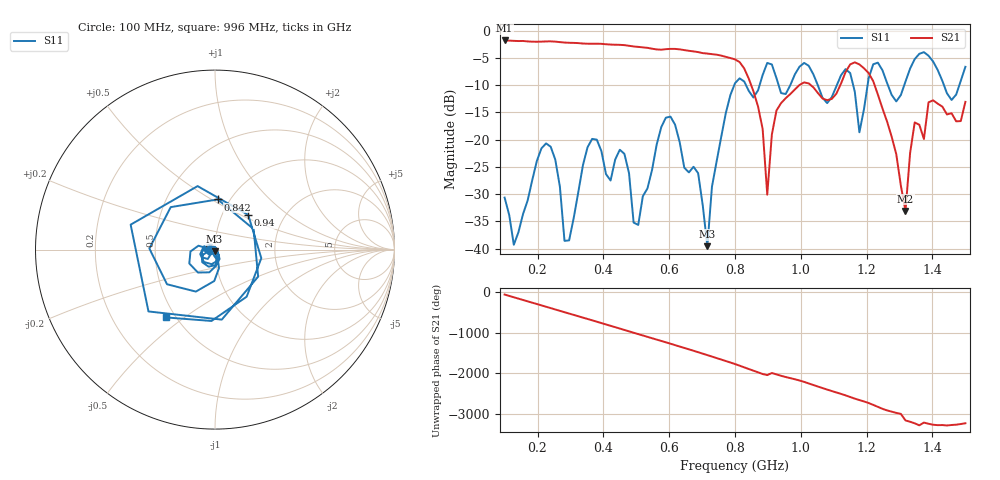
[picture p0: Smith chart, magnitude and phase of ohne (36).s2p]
! NanoVNA-App
! Date: 2025-09-26 09:55:40
! Start: 100MHz Stop: 1,5GHz Points: 101
! S-Parameter data: F S11 S21 S12 S22
# Hz S RI R 50
!  Frequency  S11_Real  S11_Imag  S21_Real  S21_Imag  S12_Real  S12_Imag  S22_Real  S22_Imag
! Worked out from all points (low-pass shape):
!   101 points, 100 MHz to 1.5 GHz, reference 50 ohm
!   highest |S21| = -1.79 dB at 100 MHz (marker M1); lowest = -33.1 dB at 1.318 GHz (marker M2)
!   |S21| within 3 dB of the highest: start of sweep to 771.5 MHz
!   lowest |S11| = -39.5 dB at 716 MHz (marker M3), VSWR 1.02, Z = 49.8 - j1.03 ohm
!   |S11| at or under -10 dB: start of sweep to 797.6 MHz; 833.5 MHz to 874.7 MHz (41.23 MHz wide, 4.83 % of centre); 1.052 GHz to 1.109 GHz (57.79 MHz wide, 5.35 % of centre)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
!   S12 and S22 are empty: the file has one direction only
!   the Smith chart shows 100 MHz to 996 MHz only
!   S11 on the Smith chart (normalised r, x): 100 MHz: 0.94, -0.01; 842 MHz: 0.88, +0.53; 940 MHz: 1.32, +0.55; 996 MHz: 0.44, -0.43
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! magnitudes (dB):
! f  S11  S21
! 100 MHz  -30.6  -1.8
! 128 MHz  -39.3  -1.9
! 226 MHz  -20.7  -2.0
! 296 MHz  -38.5  -2.2
! 338 MHz  -24.7  -2.4
! 464 MHz  -22.6  -2.7
! 506 MHz  -35.6  -3.0
! 576 MHz  -17.7  -3.5
! 688 MHz  -26.1  -3.9
! 716 MHz  -39.5  -4.2
! 800 MHz  -9.6  -5.3
! 842 MHz  -11.1  -8.8
! 898 MHz  -5.9  -30.1
! 940 MHz  -11.4  -13.3
! 996 MHz  -6.6  -10.0
! 1.038 GHz  -8.0  -10.4
! 1.178 GHz  -18.6  -6.2
! 1.22 GHz  -6.2  -9.3
! 1.276 GHz  -11.8  -19.5
! 1.318 GHz  -9.3  -33.1
! 1.346 GHz  -5.2  -16.8
! 1.5 GHz  -6.6  -13.1
